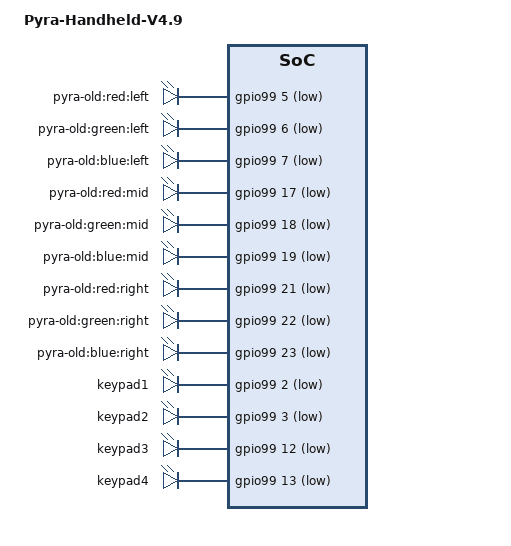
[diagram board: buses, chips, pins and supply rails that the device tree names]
// SPDX-License-Identifier: GPL-2.0-or-later
/*
 * Copyright (C) 2015 OpenPandora - http://www.pyra-handheld.com/
 *
 * This program is free software; you can redistribute it and/or modify
 * it under the terms of the GNU General Public License version 2 as
 * published by the Free Software Foundation.
 */

#include "pyra-mainboard-v5.0.dtsi"

/ {
	model = "Pyra-Handheld-V4.9";

	pyra_leds { /* historical for V4 main boards */
		compatible = "gpio-leds";
		led@1 {
			label = "pyra-old:red:left";
			gpios = <&gpio99 5 (GPIO_ACTIVE_LOW | GPIO_OPEN_DRAIN)>;
			linux,default-trigger = "mmc0";
			default-state = "off";
		};

		led@2 {
			label = "pyra-old:green:left";
			gpios = <&gpio99 6 (GPIO_ACTIVE_LOW | GPIO_OPEN_DRAIN)>;
			linux,default-trigger = "none";
			default-state = "off";
		};

		led@3 {
			label = "pyra-old:blue:left";
			gpios = <&gpio99 7 (GPIO_ACTIVE_LOW | GPIO_OPEN_DRAIN)>;
			linux,default-trigger = "none";
			default-state = "off";
		};

		led@4 {
			label = "pyra-old:red:mid";
			gpios = <&gpio99 17 (GPIO_ACTIVE_LOW | GPIO_OPEN_DRAIN)>;
			linux,default-trigger = "mmc1";
			default-state = "off";
		};

		led@5 {
			label = "pyra-old:green:mid";
			gpios = <&gpio99 18 (GPIO_ACTIVE_LOW | GPIO_OPEN_DRAIN)>;
			linux,default-trigger = "none";
			default-state = "off";
		};

		led@6 {
			label = "pyra-old:blue:mid";
			gpios = <&gpio99 19 (GPIO_ACTIVE_LOW | GPIO_OPEN_DRAIN)>;
			linux,default-trigger = "timer";
			default-state = "off";
		};

		led@7 {
			label = "pyra-old:red:right";
			gpios = <&gpio99 21 (GPIO_ACTIVE_LOW | GPIO_OPEN_DRAIN)>;
			linux,default-trigger = "heartbeat";
			default-state = "off";
		};

		led@8 {
			label = "pyra-old:green:right";
			gpios = <&gpio99 22 (GPIO_ACTIVE_LOW | GPIO_OPEN_DRAIN)>;
			linux,default-trigger = "none";
			default-state = "off";
		};

		led@9 {
			label = "pyra-old:blue:right";
			gpios = <&gpio99 23 (GPIO_ACTIVE_LOW | GPIO_OPEN_DRAIN)>;
			linux,default-trigger = "none";
			default-state = "off";
		};

	};

	keypad_leds { /* historical for V4 main boards */
		compatible = "gpio-leds";

		led@1 {
			label = "keypad1";
			gpios = <&gpio99 2 (GPIO_ACTIVE_LOW | GPIO_OPEN_DRAIN)>;
			linux,default-trigger = "none";
			default-state = "off";
		};

		led@2 {
			label = "keypad2";
			gpios = <&gpio99 3 (GPIO_ACTIVE_LOW | GPIO_OPEN_DRAIN)>;
			linux,default-trigger = "none";
			default-state = "off";
		};

		led@3 {
			label = "keypad3";
			gpios = <&gpio99 12 (GPIO_ACTIVE_LOW | GPIO_OPEN_DRAIN)>;
			linux,default-trigger = "none";
			default-state = "off";
		};

		led@4 {
			label = "keypad4";
			gpios = <&gpio99 13 (GPIO_ACTIVE_LOW | GPIO_OPEN_DRAIN)>;
			linux,default-trigger = "none";
			default-state = "off";
		};
	};
};

&i2c5 {
	/delete-node/ leds-left-mid@64;
	/delete-node/ leds-right@67;
};
